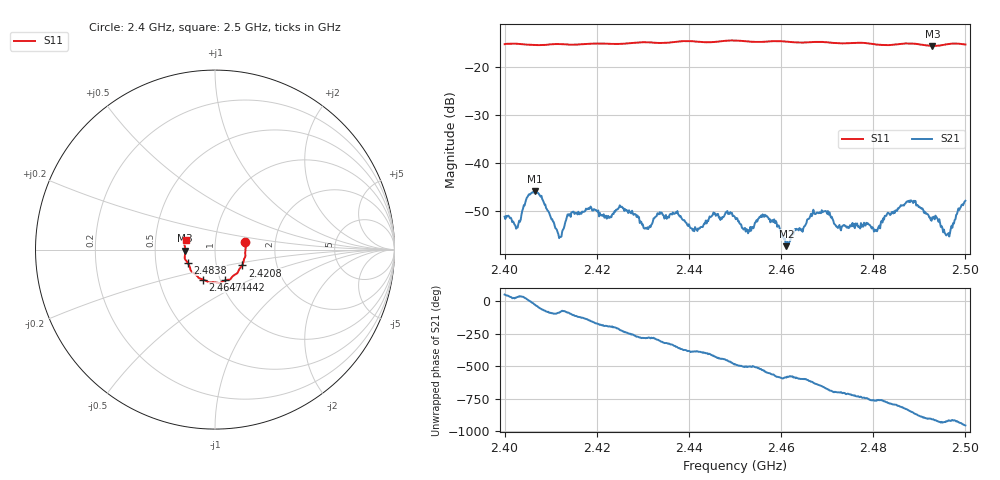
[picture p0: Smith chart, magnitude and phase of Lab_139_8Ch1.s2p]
# Hz S RI R 50
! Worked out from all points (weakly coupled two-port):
!   601 points, 2.4 GHz to 2.5 GHz, reference 50 ohm
!   highest |S21| = -45.86 dB at 2.4065 GHz (marker M1); lowest = -57.3 dB at 2.4612 GHz (marker M2)
!   lowest |S11| = -15.6 dB at 2.4928 GHz (marker M3), VSWR 1.40, Z = 35.8 - j0.389 ohm
!   |S11| at or under -10 dB: start of sweep to end of sweep
!   S12 and S22 are empty: the file has one direction only
!   S11 on the Smith chart (normalised r, x): 2.4 GHz: 1.40, +0.12; 2.4208 GHz: 1.33, -0.24; 2.4442 GHz: 1.05, -0.37; 2.4647 GHz: 0.83, -0.29; 2.4838 GHz: 0.73, -0.11; 2.5 GHz: 0.72, +0.08
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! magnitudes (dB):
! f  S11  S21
! 2.4 GHz  -15.2  -51.2
! 2.4028 GHz  -15.2  -53.4
! 2.4065 GHz  -15.4  -45.9
! 2.4118 GHz  -15.2  -55.6
! 2.4167 GHz  -15.3  -50.6
! 2.4208 GHz  -15.1  -50.9
! 2.4253 GHz  -15.2  -49.1
! 2.4307 GHz  -14.8  -53.5
! 2.4333 GHz  -15.0  -50.6
! 2.4442 GHz  -14.9  -52.1
! 2.45 GHz  -14.5  -51.3
! 2.457 GHz  -14.7  -51.2
! 2.4612 GHz  -14.7  -57.3
! 2.4647 GHz  -14.9  -54.3
! 2.4667 GHz  -14.8  -51.1
! 2.4805 GHz  -15.3  -54.1
! 2.4833 GHz  -15.5  -50.4
! 2.4838 GHz  -15.4  -50.7
! 2.4887 GHz  -15.1  -48.3
! 2.4928 GHz  -15.6  -51.3
! 2.4962 GHz  -15.2  -54.9
! 2.5 GHz  -15.3  -47.9
